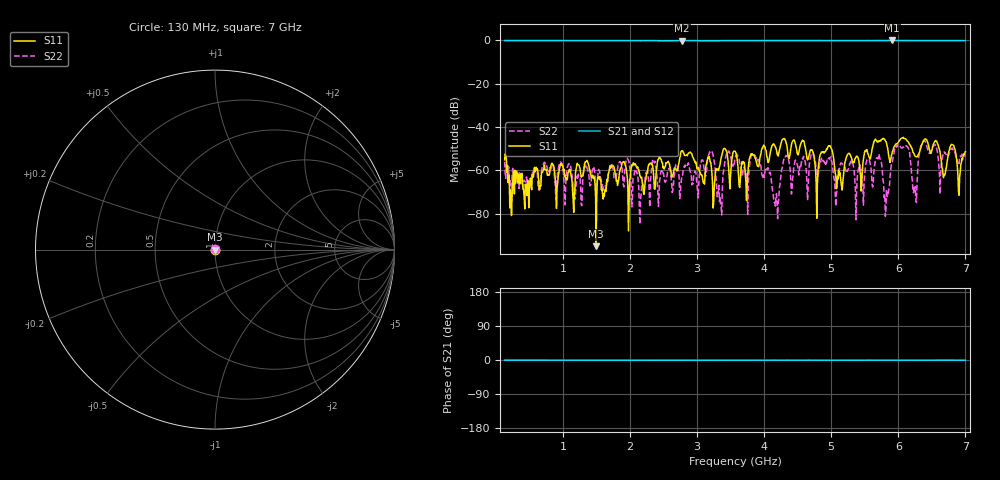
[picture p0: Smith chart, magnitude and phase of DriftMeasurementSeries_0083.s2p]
# Hz S RI R 50.000000
! Metas.Vna.Tools, 2.8.8664.20301
! Metas.Vna.Data, 2.8.8664.20285
! Created: UTC 2024.02.11 10:08:44
! FREQ  re:S1,1  im:S1,1  re:S2,1  im:S2,1  re:S1,2  im:S1,2  re:S2,2  im:S2,2
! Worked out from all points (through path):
!   801 points, 130 MHz to 7 GHz, reference 50 ohm
!   highest |S21| = -0.02 dB at 5.909 GHz (marker M1); lowest = -0.2 dB at 2.775 GHz (marker M2)
!   lowest |S11| = -95.0 dB at 1.495 GHz (marker M3), VSWR 1.00, Z = 50 + j0.00167 ohm
!   |S11| at or under -10 dB: start of sweep to end of sweep
!   |S22| runs from -84.9 to -46.4 dB; largest |S21 - S12| = 0.018
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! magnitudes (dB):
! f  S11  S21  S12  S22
! 130 MHz  -55.2  0.0  0.0  -56.0
! 241.6 MHz  -71.8  0.0  0.0  -62.2
! 1.281 GHz  -62.9  -0.1  0.0  -76.4
! 1.495 GHz  -95.0  -0.1  0.0  -74.3
! 2.423 GHz  -54.9  -0.1  0.0  -76.7
! 2.775 GHz  -50.9  -0.2  0.0  -62.3
! 3.204 GHz  -56.4  -0.1  0.0  -51.1
! 3.333 GHz  -58.2  -0.1  0.0  -74.4
! 3.445 GHz  -51.8  -0.1  0.0  -52.1
! 3.565 GHz  -51.1  -0.1  0.0  -54.5
! 3.857 GHz  -53.6  -0.1  0.0  -52.9
! 4.183 GHz  -50.6  -0.1  0.0  -70.8
! 4.321 GHz  -46.5  -0.1  0.0  -53.3
! 4.716 GHz  -50.7  -0.1  0.0  -52.3
! 5.137 GHz  -63.0  -0.1  0.0  -57.1
! 5.858 GHz  -53.4  0.0  0.0  -68.7
! 5.909 GHz  -51.8  0.0  0.0  -56.2
! 6.133 GHz  -46.4  0.0  0.0  -48.9
! 6.244 GHz  -53.1  -0.1  0.0  -69.4
! 6.373 GHz  -46.4  -0.1  0.0  -46.7
! 6.682 GHz  -61.9  -0.1  0.0  -51.4
! 7 GHz  -51.3  -0.1  0.0  -53.7
